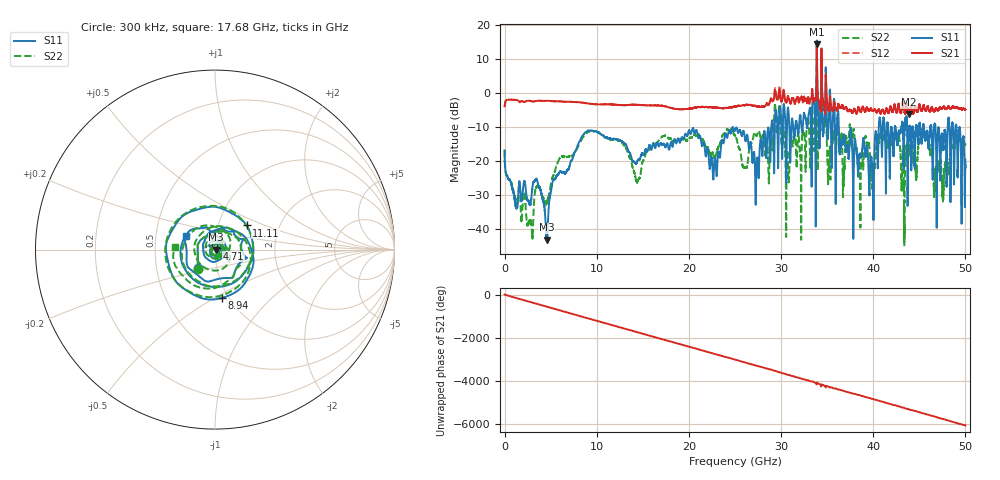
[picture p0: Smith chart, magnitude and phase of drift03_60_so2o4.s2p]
!Created with skrf (http://scikit-rf.org).
# Hz S RI R 50.0
!freq ReS11 ImS11 ReS21 ImS21 ReS12 ImS12 ReS22 ImS22
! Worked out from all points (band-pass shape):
!   10001 points, 300 kHz to 50 GHz, reference 50 ohm
!   highest |S21| = 14.38 dB at 33.88 GHz (marker M1); lowest = -6.3 dB at 43.87 GHz (marker M2)
!   |S21| within 3 dB of the highest: 33.86921 GHz to 33.88858 GHz (19.37 MHz wide, 0.0572 % of centre); 34.3768 GHz to 34.38866 GHz (11.87 MHz wide, 0.0345 % of centre)
!   lowest |S11| = -43.3 dB at 4.58 GHz (marker M3), VSWR 1.01, Z = 50.7 - j0.0725 ohm
!   |S11| at or under -10 dB: start of sweep to 28.94 GHz; 36.27 GHz to 40.6 GHz (4.338 GHz wide, 11.3 % of centre); 46.75 GHz to 48.08 GHz (1.329 GHz wide, 2.8 % of centre) (the widest 3 of 59)
!   |S22| runs from -45.1 to 11.4 dB; largest |S21 - S12| = 0.82
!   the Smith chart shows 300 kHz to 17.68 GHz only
!   S11 on the Smith chart (normalised r, x): 300 kHz: 0.81, -0.17; 4.71 GHz: 1.02, +0.01; 8.94 GHz: 0.93, -0.54; 11.11 GHz: 1.36, +0.39; 17.68 GHz: 0.71, +0.11
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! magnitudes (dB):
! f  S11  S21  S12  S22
! 300 kHz  -17.0  -4.0  -4.0  -16.8
! 2.82 GHz  -32.7  -2.4  -2.4  -38.1
! 4.58 GHz  -43.3  -2.3  -2.3  -32.2
! 4.71 GHz  -37.3  -2.3  -2.4  -31.1
! 8.335 GHz  -13.1  -2.8  -2.8  -13.9
! 8.94 GHz  -11.3  -3.1  -3.1  -11.8
! 11.11 GHz  -13.1  -3.4  -3.4  -13.4
! 14.43 GHz  -19.9  -3.5  -3.5  -26.0
! 16.67 GHz  -15.4  -3.7  -3.7  -14.2
! 17.68 GHz  -15.0  -4.1  -4.1  -13.0
! 22.82 GHz  -19.4  -4.3  -4.3  -19.1
! 25 GHz  -11.0  -4.0  -4.0  -12.5
! 26.09 GHz  -13.7  -3.7  -3.6  -21.9
! 27.39 GHz  -19.3  -4.1  -4.1  -12.4
! 29.6 GHz  -10.5  -2.0  -2.1  -11.7
! 30.7 GHz  -5.7  -1.4  -1.5  -17.2
! 33.34 GHz  -13.8  -0.3  -0.4  -6.9
! 33.88 GHz  15.4  14.4  14.0  11.4
! 39.81 GHz  -19.2  -4.9  -4.8  -23.2
! 41.67 GHz  -12.1  -5.9  -5.9  -14.9
! 43.87 GHz  -10.0  -6.3  -6.2  -17.3
! 50 GHz  -19.7  -4.9  -4.9  -15.1
